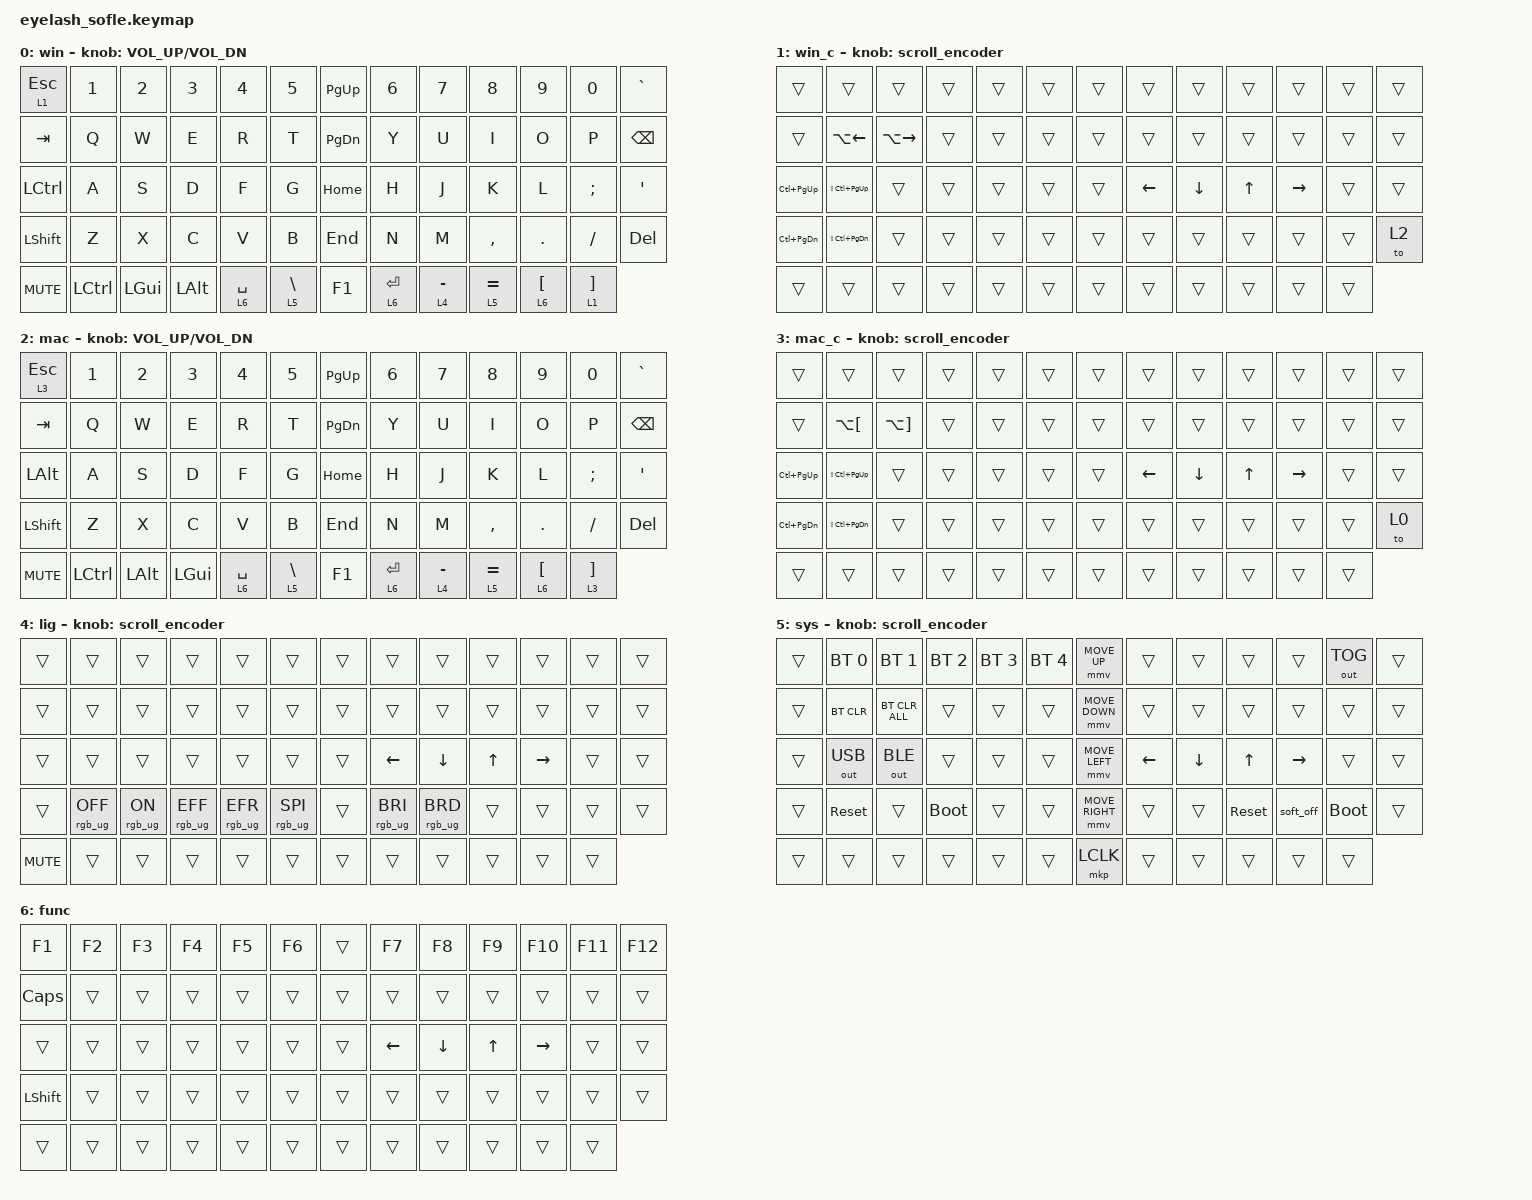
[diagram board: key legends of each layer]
#define ZMK_POINTING_DEFAULT_MOVE_VAL 1200  // 600
#define ZMK_POINTING_DEFAULT_SCRL_VAL 25   // 10

#include <input/processors.dtsi>
#include <zephyr/dt-bindings/input/input-event-codes.h>
#include <behaviors.dtsi>
#include <dt-bindings/zmk/bt.h>
#include <dt-bindings/zmk/keys.h>
#include <dt-bindings/zmk/outputs.h>
#include <dt-bindings/zmk/pointing.h>
#include <dt-bindings/zmk/rgb.h>

&mmv_input_listener { input-processors = <&zip_xy_scaler 2 1>; };

&msc_input_listener { input-processors = <&zip_scroll_scaler 2 1>; };

&msc {
    acceleration-exponent = <1>;      // 0
    time-to-max-speed-ms = <100>;       // 300
    delay-ms = <0>;                   // 0
};

&mmv {
    time-to-max-speed-ms = <500>;
    acceleration-exponent = <1>;
    trigger-period-ms = <16>;
};

&soft_off { hold-time-ms = <2000>; };

/ {
    scroll_encoder: scroll_encoder {
        compatible = "zmk,behavior-sensor-rotate";
        #sensor-binding-cells = <0>;
        bindings = <&msc SCRL_DOWN>, <&msc SCRL_UP>;

        tap-ms = <100>;
    };

    behaviors {
    };

    combos {
        compatible = "zmk,combos";

        softoff {
            bindings = <&soft_off>;
            key-positions = <14 28 40>;
        };
    };

    keymap {
        compatible = "zmk,keymap";

        win {
            bindings = <
&lt 1 ESC   &kp N1     &kp N2        &kp N3        &kp N4       &kp N5             &kp PAGE_UP    &kp N6       &kp N7       &kp N8       &kp N9              &kp N0               &kp GRAVE
&kp TAB     &kp Q      &kp W         &kp E         &kp R        &kp T              &kp PAGE_DOWN  &kp Y        &kp U        &kp I        &kp O               &kp P                &kp BACKSPACE
&kp LCTRL   &kp A      &kp S         &kp D         &kp F        &kp G              &kp HOME       &kp H        &kp J        &kp K        &kp L               &kp SEMI             &kp APOS
&kp LSHFT   &kp Z      &kp X         &kp C         &kp V        &kp B              &kp END        &kp N        &kp M        &kp COMMA    &kp DOT             &kp FSLH             &kp DEL
&kp C_MUTE  &kp LCTRL  &kp LEFT_GUI  &kp LEFT_ALT  &lt 6 SPACE  &lt 5 BACKSLASH    &kp F1         &lt 6 ENTER  &lt 4 MINUS  &lt 5 EQUAL  &lt 6 LEFT_BRACKET  &lt 1 RIGHT_BRACKET
            >;

            sensor-bindings = <&inc_dec_kp C_VOLUME_UP C_VOL_DN>;
            display-name = "win";
        };

        win_c {
            bindings = <
&trans             &trans                 &trans               &trans  &trans  &trans    &trans  &trans          &trans          &trans        &trans           &trans  &trans
&trans             &kp LA(LEFT_ARROW)     &kp LA(RIGHT_ARROW)  &trans  &trans  &trans    &trans  &trans          &trans          &trans        &trans           &trans  &trans
&kp LC(PAGE_UP)    &kp LS(LC(PAGE_UP))    &trans               &trans  &trans  &trans    &trans  &kp LEFT_ARROW  &kp DOWN_ARROW  &kp UP_ARROW  &kp RIGHT_ARROW  &trans  &trans
&kp LC(PAGE_DOWN)  &kp LS(LC(PAGE_DOWN))  &trans               &trans  &trans  &trans    &trans  &trans          &trans          &trans        &trans           &trans  &to 2
&trans             &trans                 &trans               &trans  &trans  &trans    &trans  &trans          &trans          &trans        &trans           &trans
            >;

            display-name = "win_c";
            sensor-bindings = <&scroll_encoder>;
        };

        mac {
            display-name = "mac";
            bindings = <
&lt 3 ESC     &kp N1     &kp N2        &kp N3        &kp N4       &kp N5             &kp PAGE_UP    &kp N6       &kp N7       &kp N8       &kp N9              &kp N0               &kp GRAVE
&kp TAB       &kp Q      &kp W         &kp E         &kp R        &kp T              &kp PAGE_DOWN  &kp Y        &kp U        &kp I        &kp O               &kp P                &kp BACKSPACE
&kp LEFT_ALT  &kp A      &kp S         &kp D         &kp F        &kp G              &kp HOME       &kp H        &kp J        &kp K        &kp L               &kp SEMI             &kp APOS
&kp LSHFT     &kp Z      &kp X         &kp C         &kp V        &kp B              &kp END        &kp N        &kp M        &kp COMMA    &kp DOT             &kp FSLH             &kp DEL
&kp C_MUTE    &kp LCTRL  &kp LEFT_ALT  &kp LEFT_GUI  &lt 6 SPACE  &lt 5 BACKSLASH    &kp F1         &lt 6 ENTER  &lt 4 MINUS  &lt 5 EQUAL  &lt 6 LEFT_BRACKET  &lt 3 RIGHT_BRACKET
            >;

            sensor-bindings = <&inc_dec_kp C_VOLUME_UP C_VOL_DN>;
        };

        mac_c {
            display-name = "mac_c";
            bindings = <
&trans             &trans                 &trans                 &trans  &trans  &trans    &trans  &trans          &trans          &trans        &trans           &trans  &trans
&trans             &kp LA(LEFT_BRACKET)   &kp LA(RIGHT_BRACKET)  &trans  &trans  &trans    &trans  &trans          &trans          &trans        &trans           &trans  &trans
&kp LC(PAGE_UP)    &kp LS(LC(PAGE_UP))    &trans                 &trans  &trans  &trans    &trans  &kp LEFT_ARROW  &kp DOWN_ARROW  &kp UP_ARROW  &kp RIGHT_ARROW  &trans  &trans
&kp LC(PAGE_DOWN)  &kp LS(LC(PAGE_DOWN))  &trans                 &trans  &trans  &trans    &trans  &trans          &trans          &trans        &trans           &trans  &to 0
&trans             &trans                 &trans                 &trans  &trans  &trans    &trans  &trans          &trans          &trans        &trans           &trans
            >;

            sensor-bindings = <&scroll_encoder>;
        };

        light {
            bindings = <
&trans      &trans           &trans          &trans           &trans           &trans             &trans  &trans           &trans           &trans        &trans     &trans  &trans
&trans      &trans           &trans          &trans           &trans           &trans             &trans  &trans           &trans           &trans        &trans     &trans  &trans
&trans      &trans           &trans          &trans           &trans           &trans             &trans  &kp LEFT         &kp DOWN         &kp UP_ARROW  &kp RIGHT  &trans  &trans
&trans      &rgb_ug RGB_OFF  &rgb_ug RGB_ON  &rgb_ug RGB_EFF  &rgb_ug RGB_EFR  &rgb_ug RGB_SPI    &trans  &rgb_ug RGB_BRI  &rgb_ug RGB_BRD  &trans        &trans     &trans  &trans
&kp C_MUTE  &trans           &trans          &trans           &trans           &trans             &trans  &trans           &trans           &trans        &trans     &trans
            >;

            display-name = "lig";
            sensor-bindings = <&scroll_encoder>;
        };

        system {
            display-name = "sys";
            bindings = <
&trans  &bt BT_SEL 0  &bt BT_SEL 1    &bt BT_SEL 2  &bt BT_SEL 3  &bt BT_SEL 4    &mmv MOVE_UP     &trans          &trans          &trans        &trans           &out OUT_TOG  &trans
&trans  &bt BT_CLR    &bt BT_CLR_ALL  &trans        &trans        &trans          &mmv MOVE_DOWN   &trans          &trans          &trans        &trans           &trans        &trans
&trans  &out OUT_USB  &out OUT_BLE    &trans        &trans        &trans          &mmv MOVE_LEFT   &kp LEFT_ARROW  &kp DOWN_ARROW  &kp UP_ARROW  &kp RIGHT_ARROW  &trans        &trans
&trans  &sys_reset    &trans          &bootloader   &trans        &trans          &mmv MOVE_RIGHT  &trans          &trans          &sys_reset    &soft_off        &bootloader   &trans
&trans  &trans        &trans          &trans        &trans        &trans          &mkp LCLK        &trans          &trans          &trans        &trans           &trans
            >;

            sensor-bindings = <&scroll_encoder>;
        };

        func {
            bindings = <
&kp F1          &kp F2  &kp F3  &kp F4  &kp F5  &kp F6    &trans  &kp F7          &kp F8          &kp F9        &kp F10    &kp F11  &kp F12
&kp CAPSLOCK    &trans  &trans  &trans  &trans  &trans    &trans  &trans          &trans          &trans        &trans     &trans   &trans
&trans          &trans  &trans  &trans  &trans  &trans    &trans  &kp LEFT_ARROW  &kp DOWN_ARROW  &kp UP_ARROW  &kp RIGHT  &trans   &trans
&kp LEFT_SHIFT  &trans  &trans  &trans  &trans  &trans    &trans  &trans          &trans          &trans        &trans     &trans   &trans
&trans          &trans  &trans  &trans  &trans  &trans    &trans  &trans          &trans          &trans        &trans     &trans
            >;

            label = "func";
        };
    };
};
